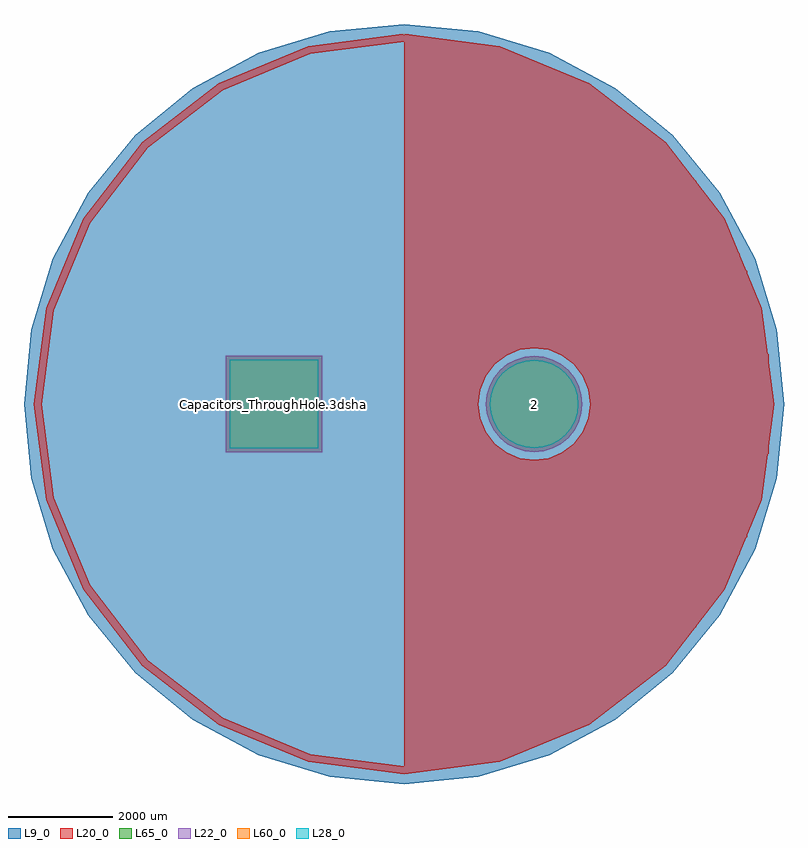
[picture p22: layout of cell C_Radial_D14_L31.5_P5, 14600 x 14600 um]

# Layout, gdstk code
import gdstk
lib = gdstk.Library(unit=1e-6, precision=1e-09)
def R(c, l, rs):  # rectangles x0, y0, x1, y1
    for r in rs: c.add(gdstk.rectangle(r[:2], r[2:], *l))
def P(c, l, *ps):  # polygons
    for p in ps: c.add(gdstk.Polygon(p, *l))
L9_0 = (9, 0)
L20_0 = (20, 0)
L22_0 = (22, 0)
L28_0 = (28, 0)
L60_0 = (60, 0)
L65_0 = (65, 0)

c_radial_d14_l31_5_p5 = lib.new_cell('C_Radial_D14_L31.5_P5')
P(c_radial_d14_l31_5_p5, L9_0, [(9800,0),(9659.733,1424.159),(9244.321,2793.589),(8569.728,4055.663),(7661.88,5161.88),(6555.663,6069.728),(5293.589,6744.321),(3924.159,7159.733),(2500,7300),(1075.841,7159.733),(-293.589,6744.321),(-1555.663,6069.728),(-2661.88,5161.88),(-3569.728,4055.663),(-4244.321,2793.589),(-4659.733,1424.159),(-4800,0),(-4659.733,-1424.159),(-4244.321,-2793.589),(-3569.728,-4055.663),(-2661.88,-5161.88),(-1555.663,-6069.728),(-293.589,-6744.321),(1075.841,-7159.733),(2500,-7300),(3924.159,-7159.733),(5293.589,-6744.321),(6555.663,-6069.728),(7661.88,-5161.88),(8569.728,-4055.663),(9244.321,-2793.589),(9659.733,-1424.159)])
R(c_radial_d14_l31_5_p5, L22_0, [(-925,-925,925,925)])
P(c_radial_d14_l31_5_p5, L22_0, [(5925,0),(5907.226,180.459),(5854.589,353.982),(5769.109,513.902),(5654.074,654.074),(5513.902,769.109),(5353.982,854.589),(5180.459,907.226),(5000,925),(4819.541,907.226),(4646.018,854.589),(4486.098,769.109),(4345.926,654.074),(4230.891,513.902),(4145.411,353.982),(4092.774,180.459),(4075,0),(4092.774,-180.459),(4145.411,-353.982),(4230.891,-513.902),(4345.926,-654.074),(4486.098,-769.109),(4646.018,-854.589),(4819.541,-907.226),(5000,-925),(5180.459,-907.226),(5353.982,-854.589),(5513.902,-769.109),(5654.074,-654.074),(5769.109,-513.902),(5854.589,-353.982),(5907.226,-180.459)])
R(c_radial_d14_l31_5_p5, L28_0, [(-850,-850,850,850)])
P(c_radial_d14_l31_5_p5, L28_0, [(5850,0),(5833.667,165.827),(5785.298,325.281),(5706.749,472.235),(5601.041,601.041),(5472.235,706.749),(5325.281,785.298),(5165.827,833.667),(5000,850),(4834.173,833.667),(4674.719,785.298),(4527.765,706.749),(4398.959,601.041),(4293.251,472.235),(4214.702,325.281),(4166.333,165.827),(4150,0),(4166.333,-165.827),(4214.702,-325.281),(4293.251,-472.235),(4398.959,-601.041),(4527.765,-706.749),(4674.719,-785.298),(4834.173,-833.667),(5000,-850),(5165.827,-833.667),(5325.281,-785.298),(5472.235,-706.749),(5601.041,-601.041),(5706.749,-472.235),(5785.298,-325.281),(5833.667,-165.827)])
R(c_radial_d14_l31_5_p5, L60_0, [(-850,-850,850,850)])
P(c_radial_d14_l31_5_p5, L60_0, [(5850,0),(5833.667,165.827),(5785.298,325.281),(5706.749,472.235),(5601.041,601.041),(5472.235,706.749),(5325.281,785.298),(5165.827,833.667),(5000,850),(4834.173,833.667),(4674.719,785.298),(4527.765,706.749),(4398.959,601.041),(4293.251,472.235),(4214.702,325.281),(4166.333,165.827),(4150,0),(4166.333,-165.827),(4214.702,-325.281),(4293.251,-472.235),(4398.959,-601.041),(4527.765,-706.749),(4674.719,-785.298),(4834.173,-833.667),(5000,-850),(5165.827,-833.667),(5325.281,-785.298),(5472.235,-706.749),(5601.041,-601.041),(5706.749,-472.235),(5785.298,-325.281),(5833.667,-165.827)])
R(c_radial_d14_l31_5_p5, L65_0, [(-925,-925,925,925)])
P(c_radial_d14_l31_5_p5, L65_0, [(5925,0),(5907.226,180.459),(5854.589,353.982),(5769.109,513.902),(5654.074,654.074),(5513.902,769.109),(5353.982,854.589),(5180.459,907.226),(5000,925),(4819.541,907.226),(4646.018,854.589),(4486.098,769.109),(4345.926,654.074),(4230.891,513.902),(4145.411,353.982),(4092.774,180.459),(4075,0),(4092.774,-180.459),(4145.411,-353.982),(4230.891,-513.902),(4345.926,-654.074),(4486.098,-769.109),(4646.018,-854.589),(4819.541,-907.226),(5000,-925),(5180.459,-907.226),(5353.982,-854.589),(5513.902,-769.109),(5654.074,-654.074),(5769.109,-513.902),(5854.589,-353.982),(5907.226,-180.459)])
c_radial_d14_l31_5_p5.add(gdstk.FlexPath([(2500,7037.5),(678.561,6797.703),(-1018.75,6094.654),(-2476.264,4976.264),(-3594.654,3518.75),(-4297.703,1821.439),(-4537.5,0),(-4297.703,-1821.439),(-3594.654,-3518.75),(-2476.264,-4976.264),(-1018.75,-6094.654),(678.561,-6797.703),(2500,-7037.5),(4321.439,-6797.703),(6018.75,-6094.654),(7476.264,-4976.264),(8594.654,-3518.75),(9297.703,-1821.439),(9537.5,0),(9297.703,1821.439),(8594.654,3518.75),(7476.264,4976.264),(6018.75,6094.654),(4321.439,6797.703),(2500,7037.5)], 149.998, ends="flush", simple_path=True, layer=20, datatype=0))  # L20_0
c_radial_d14_l31_5_p5.add(gdstk.FlexPath([(5000,1150),(4702.358,1110.815),(4425,995.929),(4186.827,813.173),(4004.071,575),(3889.185,297.642),(3850,0),(3889.185,-297.642),(4004.071,-575),(4186.827,-813.173),(4425,-995.929),(4702.358,-1110.815),(5000,-1150),(5297.642,-1110.815),(5575,-995.929),(5813.173,-813.173),(5995.929,-575),(6110.815,-297.642),(6150,0),(6110.815,297.642),(5995.929,575),(5813.173,813.173),(5575,995.929),(5297.642,1110.815),(5000,1150)], 149.998, ends="flush", simple_path=True, layer=20, datatype=0))  # L20_0
c_radial_d14_l31_5_p5.add(gdstk.FlexPath([(9435,952),(9435,-952)], 149.998, ends="flush", simple_path=True, layer=20, datatype=0))  # L20_0
c_radial_d14_l31_5_p5.add(gdstk.FlexPath([(9295,1682),(9295,-1682)], 149.998, ends="flush", simple_path=True, layer=20, datatype=0))  # L20_0
c_radial_d14_l31_5_p5.add(gdstk.FlexPath([(9155,2170),(9155,-2170)], 149.998, ends="flush", simple_path=True, layer=20, datatype=0))  # L20_0
c_radial_d14_l31_5_p5.add(gdstk.FlexPath([(9015,2560),(9015,-2560)], 149.998, ends="flush", simple_path=True, layer=20, datatype=0))  # L20_0
c_radial_d14_l31_5_p5.add(gdstk.FlexPath([(8875,2891),(8875,-2891)], 149.998, ends="flush", simple_path=True, layer=20, datatype=0))  # L20_0
c_radial_d14_l31_5_p5.add(gdstk.FlexPath([(8735,3182),(8735,-3182)], 149.998, ends="flush", simple_path=True, layer=20, datatype=0))  # L20_0
c_radial_d14_l31_5_p5.add(gdstk.FlexPath([(8595,3443),(8595,-3443)], 149.998, ends="flush", simple_path=True, layer=20, datatype=0))  # L20_0
c_radial_d14_l31_5_p5.add(gdstk.FlexPath([(8455,3679),(8455,-3679)], 149.998, ends="flush", simple_path=True, layer=20, datatype=0))  # L20_0
c_radial_d14_l31_5_p5.add(gdstk.FlexPath([(8315,3897),(8315,-3897)], 149.998, ends="flush", simple_path=True, layer=20, datatype=0))  # L20_0
c_radial_d14_l31_5_p5.add(gdstk.FlexPath([(8175,4098),(8175,-4098)], 149.998, ends="flush", simple_path=True, layer=20, datatype=0))  # L20_0
c_radial_d14_l31_5_p5.add(gdstk.FlexPath([(8035,4285),(8035,-4285)], 149.998, ends="flush", simple_path=True, layer=20, datatype=0))  # L20_0
c_radial_d14_l31_5_p5.add(gdstk.FlexPath([(7895,4460),(7895,-4460)], 149.998, ends="flush", simple_path=True, layer=20, datatype=0))  # L20_0
c_radial_d14_l31_5_p5.add(gdstk.FlexPath([(7755,4624),(7755,-4624)], 149.998, ends="flush", simple_path=True, layer=20, datatype=0))  # L20_0
c_radial_d14_l31_5_p5.add(gdstk.FlexPath([(7615,4779),(7615,-4779)], 149.998, ends="flush", simple_path=True, layer=20, datatype=0))  # L20_0
c_radial_d14_l31_5_p5.add(gdstk.FlexPath([(7475,4924),(7475,-4924)], 149.998, ends="flush", simple_path=True, layer=20, datatype=0))  # L20_0
c_radial_d14_l31_5_p5.add(gdstk.FlexPath([(7335,5062),(7335,-5062)], 149.998, ends="flush", simple_path=True, layer=20, datatype=0))  # L20_0
c_radial_d14_l31_5_p5.add(gdstk.FlexPath([(7195,5192),(7195,-5192)], 149.998, ends="flush", simple_path=True, layer=20, datatype=0))  # L20_0
c_radial_d14_l31_5_p5.add(gdstk.FlexPath([(7055,5315),(7055,-5315)], 149.998, ends="flush", simple_path=True, layer=20, datatype=0))  # L20_0
c_radial_d14_l31_5_p5.add(gdstk.FlexPath([(6915,5432),(6915,-5432)], 149.998, ends="flush", simple_path=True, layer=20, datatype=0))  # L20_0
c_radial_d14_l31_5_p5.add(gdstk.FlexPath([(6775,5543),(6775,-5543)], 149.998, ends="flush", simple_path=True, layer=20, datatype=0))  # L20_0
c_radial_d14_l31_5_p5.add(gdstk.FlexPath([(6635,5648),(6635,-5648)], 149.998, ends="flush", simple_path=True, layer=20, datatype=0))  # L20_0
c_radial_d14_l31_5_p5.add(gdstk.FlexPath([(6495,5748),(6495,-5748)], 149.998, ends="flush", simple_path=True, layer=20, datatype=0))  # L20_0
c_radial_d14_l31_5_p5.add(gdstk.FlexPath([(6355,5843),(6355,-5843)], 149.998, ends="flush", simple_path=True, layer=20, datatype=0))  # L20_0
c_radial_d14_l31_5_p5.add(gdstk.FlexPath([(6215,5933),(6215,-5933)], 149.998, ends="flush", simple_path=True, layer=20, datatype=0))  # L20_0
c_radial_d14_l31_5_p5.add(gdstk.FlexPath([(6075,-409),(6075,-6018)], 149.998, ends="flush", simple_path=True, layer=20, datatype=0))  # L20_0
c_radial_d14_l31_5_p5.add(gdstk.FlexPath([(6075,6018),(6075,409)], 149.998, ends="flush", simple_path=True, layer=20, datatype=0))  # L20_0
c_radial_d14_l31_5_p5.add(gdstk.FlexPath([(5935,-670),(5935,-6099)], 149.998, ends="flush", simple_path=True, layer=20, datatype=0))  # L20_0
c_radial_d14_l31_5_p5.add(gdstk.FlexPath([(5935,6099),(5935,670)], 149.998, ends="flush", simple_path=True, layer=20, datatype=0))  # L20_0
c_radial_d14_l31_5_p5.add(gdstk.FlexPath([(5795,-831),(5795,-6176)], 149.998, ends="flush", simple_path=True, layer=20, datatype=0))  # L20_0
c_radial_d14_l31_5_p5.add(gdstk.FlexPath([(5795,6176),(5795,831)], 149.998, ends="flush", simple_path=True, layer=20, datatype=0))  # L20_0
c_radial_d14_l31_5_p5.add(gdstk.FlexPath([(5655,-945),(5655,-6249)], 149.998, ends="flush", simple_path=True, layer=20, datatype=0))  # L20_0
c_radial_d14_l31_5_p5.add(gdstk.FlexPath([(5655,6249),(5655,945)], 149.998, ends="flush", simple_path=True, layer=20, datatype=0))  # L20_0
c_radial_d14_l31_5_p5.add(gdstk.FlexPath([(5515,-1028),(5515,-6317)], 149.998, ends="flush", simple_path=True, layer=20, datatype=0))  # L20_0
c_radial_d14_l31_5_p5.add(gdstk.FlexPath([(5515,6317),(5515,1028)], 149.998, ends="flush", simple_path=True, layer=20, datatype=0))  # L20_0
c_radial_d14_l31_5_p5.add(gdstk.FlexPath([(5375,-1087),(5375,-6382)], 149.998, ends="flush", simple_path=True, layer=20, datatype=0))  # L20_0
c_radial_d14_l31_5_p5.add(gdstk.FlexPath([(5375,6382),(5375,1087)], 149.998, ends="flush", simple_path=True, layer=20, datatype=0))  # L20_0
c_radial_d14_l31_5_p5.add(gdstk.FlexPath([(5235,-1126),(5235,-6444)], 149.998, ends="flush", simple_path=True, layer=20, datatype=0))  # L20_0
c_radial_d14_l31_5_p5.add(gdstk.FlexPath([(5235,6444),(5235,1126)], 149.998, ends="flush", simple_path=True, layer=20, datatype=0))  # L20_0
c_radial_d14_l31_5_p5.add(gdstk.FlexPath([(5095,-1146),(5095,-6501)], 149.998, ends="flush", simple_path=True, layer=20, datatype=0))  # L20_0
c_radial_d14_l31_5_p5.add(gdstk.FlexPath([(5095,6501),(5095,1146)], 149.998, ends="flush", simple_path=True, layer=20, datatype=0))  # L20_0
c_radial_d14_l31_5_p5.add(gdstk.FlexPath([(4955,-1149),(4955,-6555)], 149.998, ends="flush", simple_path=True, layer=20, datatype=0))  # L20_0
c_radial_d14_l31_5_p5.add(gdstk.FlexPath([(4955,6555),(4955,1149)], 149.998, ends="flush", simple_path=True, layer=20, datatype=0))  # L20_0
c_radial_d14_l31_5_p5.add(gdstk.FlexPath([(4815,-1135),(4815,-6606)], 149.998, ends="flush", simple_path=True, layer=20, datatype=0))  # L20_0
c_radial_d14_l31_5_p5.add(gdstk.FlexPath([(4815,6606),(4815,1135)], 149.998, ends="flush", simple_path=True, layer=20, datatype=0))  # L20_0
c_radial_d14_l31_5_p5.add(gdstk.FlexPath([(4675,-1103),(4675,-6654)], 149.998, ends="flush", simple_path=True, layer=20, datatype=0))  # L20_0
c_radial_d14_l31_5_p5.add(gdstk.FlexPath([(4675,6654),(4675,1103)], 149.998, ends="flush", simple_path=True, layer=20, datatype=0))  # L20_0
c_radial_d14_l31_5_p5.add(gdstk.FlexPath([(4535,-1052),(4535,-6698)], 149.998, ends="flush", simple_path=True, layer=20, datatype=0))  # L20_0
c_radial_d14_l31_5_p5.add(gdstk.FlexPath([(4535,6698),(4535,1052)], 149.998, ends="flush", simple_path=True, layer=20, datatype=0))  # L20_0
c_radial_d14_l31_5_p5.add(gdstk.FlexPath([(4395,-978),(4395,-6739)], 149.998, ends="flush", simple_path=True, layer=20, datatype=0))  # L20_0
c_radial_d14_l31_5_p5.add(gdstk.FlexPath([(4395,6739),(4395,978)], 149.998, ends="flush", simple_path=True, layer=20, datatype=0))  # L20_0
c_radial_d14_l31_5_p5.add(gdstk.FlexPath([(4255,-876),(4255,-6776)], 149.998, ends="flush", simple_path=True, layer=20, datatype=0))  # L20_0
c_radial_d14_l31_5_p5.add(gdstk.FlexPath([(4255,6776),(4255,876)], 149.998, ends="flush", simple_path=True, layer=20, datatype=0))  # L20_0
c_radial_d14_l31_5_p5.add(gdstk.FlexPath([(4115,-734),(4115,-6811)], 149.998, ends="flush", simple_path=True, layer=20, datatype=0))  # L20_0
c_radial_d14_l31_5_p5.add(gdstk.FlexPath([(4115,6811),(4115,734)], 149.998, ends="flush", simple_path=True, layer=20, datatype=0))  # L20_0
c_radial_d14_l31_5_p5.add(gdstk.FlexPath([(3975,-521),(3975,-6843)], 149.998, ends="flush", simple_path=True, layer=20, datatype=0))  # L20_0
c_radial_d14_l31_5_p5.add(gdstk.FlexPath([(3975,6843),(3975,521)], 149.998, ends="flush", simple_path=True, layer=20, datatype=0))  # L20_0
c_radial_d14_l31_5_p5.add(gdstk.FlexPath([(3835,6872),(3835,-6872)], 149.998, ends="flush", simple_path=True, layer=20, datatype=0))  # L20_0
c_radial_d14_l31_5_p5.add(gdstk.FlexPath([(3695,6897),(3695,-6897)], 149.998, ends="flush", simple_path=True, layer=20, datatype=0))  # L20_0
c_radial_d14_l31_5_p5.add(gdstk.FlexPath([(3555,6920),(3555,-6920)], 149.998, ends="flush", simple_path=True, layer=20, datatype=0))  # L20_0
c_radial_d14_l31_5_p5.add(gdstk.FlexPath([(3415,6940),(3415,-6940)], 149.998, ends="flush", simple_path=True, layer=20, datatype=0))  # L20_0
c_radial_d14_l31_5_p5.add(gdstk.FlexPath([(3275,6957),(3275,-6957)], 149.998, ends="flush", simple_path=True, layer=20, datatype=0))  # L20_0
c_radial_d14_l31_5_p5.add(gdstk.FlexPath([(3135,6971),(3135,-6971)], 149.998, ends="flush", simple_path=True, layer=20, datatype=0))  # L20_0
c_radial_d14_l31_5_p5.add(gdstk.FlexPath([(2995,6982),(2995,-6982)], 149.998, ends="flush", simple_path=True, layer=20, datatype=0))  # L20_0
c_radial_d14_l31_5_p5.add(gdstk.FlexPath([(2855,6991),(2855,-6991)], 149.998, ends="flush", simple_path=True, layer=20, datatype=0))  # L20_0
c_radial_d14_l31_5_p5.add(gdstk.FlexPath([(2715,6997),(2715,-6997)], 149.998, ends="flush", simple_path=True, layer=20, datatype=0))  # L20_0
c_radial_d14_l31_5_p5.add(gdstk.FlexPath([(2575,7000),(2575,-7000)], 149.998, ends="flush", simple_path=True, layer=20, datatype=0))  # L20_0
c_radial_d14_l31_5_p5.add(gdstk.Label('Capacitors_ThroughHole.3dshapes/C_Radial_D14_L31.5_P5.wrl', (0,0), layer=12, texttype=0))
c_radial_d14_l31_5_p5.add(gdstk.Label('1', (0,0), layer=28, texttype=0))
c_radial_d14_l31_5_p5.add(gdstk.Label('2', (5000,0), layer=28, texttype=0))
c_radial_d14_l31_5_p5.add(gdstk.Label('type', (2500,-8300), layer=9, texttype=0))
c_radial_d14_l31_5_p5.add(gdstk.Label('devicename', (2500,8300), layer=9, texttype=0))

lib.write_gds('C_Radial_D14_L31.5_P5.gds')
